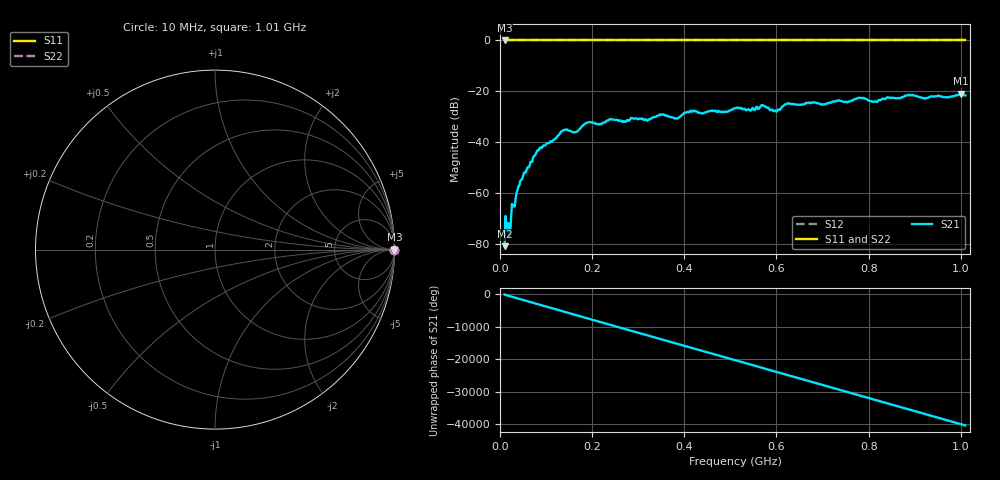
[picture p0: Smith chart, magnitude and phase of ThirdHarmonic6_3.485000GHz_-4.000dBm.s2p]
! 8/17/2025 11:20:31 AM
! C:\ANRITSUVNA\TEMP\TEMP.S2P
! CHANNEL.1
! TR.MEASUREMENT
! RAW.DATA
! RF.CORRECTION.OFF
! AVERAGING.OFF
! IF.BANDWIDTH: 5KHZ
! SWEEPTYPE:  FREQ.SWEEP(Linear)
! Reference Plane Port Info
! PORT:  PORT1  PORT2
! DISTANCE:  0  m  0  m
! TIME:  0  s  0  s
! PHASE.OFFSET:  0  deg.  0  deg.
! LOSS:  0  dB  0  dB
! REF.LOSS:  0  dB  0  dB
! REF.FREQ:  0  Hz  0  Hz
! Power Info
! POWER:  -20  dBm  -20  dBm
! EFF.POWER:  -20  dBm  -20  dBm
! SOURCE.ATTEN:  0  dB  0  dB
! TEST.ATTEN:  0  dB  0  dB
# GHZ S RI R 50.0
! FREQ.GHZ  S11RE  S11IM  S21RE  S21IM  S12RE  S12IM  S22RE  S22IM
!; PortSelection: Port_12
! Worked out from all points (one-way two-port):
!   501 points, 10 MHz to 1.01 GHz, reference 50 ohm
!   highest |S21| = -20.98 dB at 1 GHz (marker M1); lowest = -80.9 dB at 10 MHz (marker M2)
!   lowest |S11| = 0.0 dB at 10 MHz (marker M3)
!   |S11| at or under -10 dB: nowhere
!   |S22| runs from 0.0 to 0.0 dB; largest |S21 - S12| = 1.1
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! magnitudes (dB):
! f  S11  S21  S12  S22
! 10 MHz  0.0  -80.9  0.0  0.0
! 16 MHz  0.0  -75.0  0.0  0.0
! 20 MHz  0.0  -77.0  0.0  0.0
! 28 MHz  0.0  -65.4  0.0  0.0
! 42 MHz  0.0  -57.1  0.0  0.0
! 82 MHz  0.0  -43.1  0.0  0.0
! 136 MHz  0.0  -35.6  0.0  0.0
! 164 MHz  0.0  -36.1  0.0  0.0
! 178 MHz  0.0  -33.7  0.0  0.0
! 344 MHz  0.0  -29.6  0.0  0.0
! 382 MHz  0.0  -30.7  0.0  0.0
! 410 MHz  0.0  -28.3  0.0  0.0
! 510 MHz  0.0  -26.7  0.0  0.0
! 570 MHz  0.0  -25.5  0.0  0.0
! 598 MHz  0.0  -27.7  0.0  0.0
! 624 MHz  0.0  -24.8  0.0  0.0
! 678 MHz  0.0  -24.4  0.0  0.0
! 780 MHz  0.0  -22.5  0.0  0.0
! 814 MHz  0.0  -24.0  0.0  0.0
! 844 MHz  0.0  -22.5  0.0  0.0
! 1 GHz  0.0  -21.0  0.0  0.0
! 1.01 GHz  0.0  -21.6  0.0  0.0
